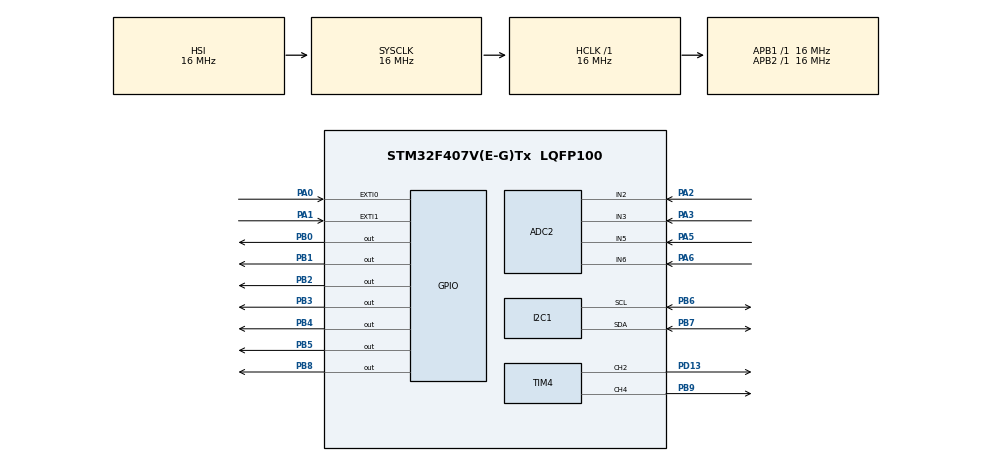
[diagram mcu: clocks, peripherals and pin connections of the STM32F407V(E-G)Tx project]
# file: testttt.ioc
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ADC2.Channel-0\#ChannelRegularConversion=ADC_CHANNEL_5
ADC2.Channel-1\#ChannelRegularConversion=ADC_CHANNEL_2
ADC2.Channel-2\#ChannelRegularConversion=ADC_CHANNEL_3
ADC2.Channel-3\#ChannelRegularConversion=ADC_CHANNEL_6
ADC2.ContinuousConvMode=ENABLE
ADC2.DMAContinuousRequests=ENABLE
ADC2.NbrOfConversion=4
ADC2.NbrOfConversionFlag=1
ADC2.Rank-0\#ChannelRegularConversion=1
ADC2.Rank-1\#ChannelRegularConversion=2
ADC2.Rank-2\#ChannelRegularConversion=3
ADC2.Rank-3\#ChannelRegularConversion=4
ADC2.SamplingTime-0\#ChannelRegularConversion=ADC_SAMPLETIME_84CYCLES
ADC2.SamplingTime-1\#ChannelRegularConversion=ADC_SAMPLETIME_84CYCLES
ADC2.SamplingTime-2\#ChannelRegularConversion=ADC_SAMPLETIME_84CYCLES
ADC2.SamplingTime-3\#ChannelRegularConversion=ADC_SAMPLETIME_84CYCLES
ADC2.ScanConvMode=ENABLE
Dma.ADC2.0.Direction=DMA_PERIPH_TO_MEMORY
Dma.ADC2.0.FIFOMode=DMA_FIFOMODE_DISABLE
Dma.ADC2.0.Instance=DMA2_Stream2
Dma.ADC2.0.MemDataAlignment=DMA_MDATAALIGN_WORD
Dma.ADC2.0.MemInc=DMA_MINC_ENABLE
Dma.ADC2.0.Mode=DMA_CIRCULAR
Dma.ADC2.0.PeriphDataAlignment=DMA_PDATAALIGN_WORD
Dma.ADC2.0.PeriphInc=DMA_PINC_DISABLE
Dma.ADC2.0.Priority=DMA_PRIORITY_LOW
Dma.Request0=ADC2
Mcu.Family=STM32F4
Mcu.Name=STM32F407V(E-G)Tx
Mcu.Package=LQFP100
NVIC.DMA2_Stream2_IRQn=true\:0\:0\:false\:false\:true\:false\:true\:true
NVIC.EXTI0_IRQn=true\:0\:0\:false\:false\:true\:true\:true\:true
NVIC.EXTI1_IRQn=true\:0\:0\:false\:false\:true\:true\:true\:true
NVIC.PriorityGroup=NVIC_PRIORITYGROUP_4
NVIC.TIM6_DAC_IRQn=true\:0\:0\:false\:false\:true\:true\:true\:true
NVIC.TIM7_IRQn=true\:0\:0\:false\:false\:true\:true\:true\:true
PA0-WKUP.GPIO_PuPd=GPIO_PULLUP
PA0-WKUP.Signal=GPXTI0
PA1.GPIO_ModeDefaultEXTI=GPIO_MODE_IT_RISING
PA1.GPIO_PuPd=GPIO_PULLUP
PA1.Signal=GPXTI1
PA2.Signal=ADCx_IN2
PA3.Signal=ADCx_IN3
PA5.Signal=ADCx_IN5
PA6.Signal=ADCx_IN6
PB0.Signal=GPIO_Output
PB1.Signal=GPIO_Output
PB2.Signal=GPIO_Output
PB3.Signal=GPIO_Output
PB4.GPIO_Speed=GPIO_SPEED_FREQ_LOW
PB4.Signal=GPIO_Output
PB5.Signal=GPIO_Output
PB6.Mode=I2C
PB6.Signal=I2C1_SCL
PB7.Mode=I2C
PB7.Signal=I2C1_SDA
PB8.Signal=GPIO_Output
PB9.Signal=S_TIM4_CH4
PD13.Signal=S_TIM4_CH2
ProjectManager.HeapSize=0x200
ProjectManager.StackSize=0x400
ProjectManager.TargetToolchain=STM32CubeIDE
RCC.AHBFreq_Value=16000000
RCC.APB1Freq_Value=16000000
RCC.APB2Freq_Value=16000000
RCC.CortexFreq_Value=16000000
RCC.HSE_VALUE=25000000
RCC.HSI_VALUE=16000000
RCC.LSE_VALUE=32768
RCC.SYSCLKFreq_VALUE=16000000
RCC.VCOOutputFreq_Value=192000000
SH.ADCx_IN2.0=ADC2_IN2,IN2
SH.ADCx_IN3.0=ADC2_IN3,IN3
SH.ADCx_IN5.0=ADC2_IN5,IN5
SH.ADCx_IN6.0=ADC2_IN6,IN6
SH.S_TIM4_CH2.0=TIM4_CH2,PWM Generation2 CH2
SH.S_TIM4_CH4.0=TIM4_CH4,PWM Generation4 CH4
TIM4.Channel-PWM\ Generation2\ CH2=TIM_CHANNEL_2
TIM4.Channel-PWM\ Generation4\ CH4=TIM_CHANNEL_4
TIM6.AutoReloadPreload=TIM_AUTORELOAD_PRELOAD_ENABLE
TIM6.Period=999
TIM6.Prescaler=8399
TIM7.AutoReloadPreload=TIM_AUTORELOAD_PRELOAD_ENABLE
TIM7.Period=999
TIM7.Prescaler=8399
VP_TIM6_VS_ClockSourceINT.Mode=Enable_Timer
VP_TIM7_VS_ClockSourceINT.Mode=Enable_Timer
board=custom

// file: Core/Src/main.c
/* USER CODE BEGIN Header */
/**
  ******************************************************************************
  * @file           : main.c
  * @brief          : Main program body
  ******************************************************************************
  * @attention
  *
  * Copyright (c) 2025 STMicroelectronics.
  * All rights reserved.
  *
  * This software is licensed under terms that can be found in the LICENSE file
  * in the root directory of this software component.
  * If no LICENSE file comes with this software, it is provided AS-IS.
  *
  ******************************************************************************
  */
/* USER CODE END Header */
#include "main.h"
#include "liquidcrystal_i2c.h"
#include <stdio.h>
#include <string.h>

/* USER CODE BEGIN PTD */
typedef enum {
    MODE_NORMAL = 0,
    MODE_DIAGNOSTIC
} SystemMode;
/* USER CODE END PTD */

/* USER CODE BEGIN PD */
#define BUZZER_Pin GPIO_PIN_0
#define BUZZER_GPIO_Port GPIOB

#define LED_VERTE_Pin GPIO_PIN_5
#define LED_ROUGE_Pin GPIO_PIN_1
#define LED_BLEUE_Pin GPIO_PIN_2
#define LED_JAUNE_Pin GPIO_PIN_3

#define POMPE_Pin GPIO_PIN_4
#define POMPE_GPIO_Port GPIOB

#define VENTILATEUR_Pin GPIO_PIN_8
#define VENTILATEUR_GPIO_Port GPIOB

#define LED_GPIO_Port GPIOB

// Seuils
#define TEMP_SEUIL_ALARME 30.0f
#define WATER_SEUIL_BAS 1000
#define HUMIDITE_SOL_SEUIL_BAS 2000
#define LDR_SEUIL_SOMBRE 1000  // Seuil pour détecter l'obscurité

/* USER CODE END PD */

ADC_HandleTypeDef hadc2;
DMA_HandleTypeDef hdma_adc2;

I2C_HandleTypeDef hi2c1;

TIM_HandleTypeDef htim4;
TIM_HandleTypeDef htim6;
TIM_HandleTypeDef htim7;

/* USER CODE BEGIN PV */
volatile SystemMode system_mode = MODE_NORMAL;
volatile uint8_t diagnostic_requested = 0;
volatile uint8_t bouton_urgence_appuye = 0;
uint32_t last_button_press = 0;

// Variables pour stockage des valeurs des capteurs
float current_temperature = 0.0f;
int current_water_level = 0;
int current_soil_moisture = 0;
int current_ldr_value = 0;  // Nouvelle variable pour le LDR

/* USER CODE END PV */

void SystemClock_Config(void);
static void MX_GPIO_Init(void);
static void MX_DMA_Init(void);
static void MX_ADC2_Init(void);
static void MX_TIM4_Init(void);
static void MX_TIM6_Init(void);
static void MX_TIM7_Init(void);
static void MX_I2C1_Init(void);
/* USER CODE BEGIN PFP */
float read_temperature_simple(void);
int read_water_level_simple(void);
int read_soil_moisture_simple(void);
int read_ldr_simple(void);  // Nouvelle fonction pour le LDR
void buzzer_beep_short(void);
void buzzer_alarme(void);
void leds_all_off(void);
void diagnostic_complet(void);
void afficher_normal_mode(void);
void gerer_actions_automatiques(float temp, int water_level, int soil_moisture);
void pompe_activer(void);
void pompe_desactiver(void);
void ventilateur_activer(void);
void ventilateur_desactiver(void);
void bouton_urgence_handler(void);
uint32_t read_adc_simple(uint32_t channel);
/* USER CODE END PFP */

int main(void)
{

  /* MCU Configuration--------------------------------------------------------*/

  /* Reset of all peripherals, Initializes the Flash interface and the Systick. */
  HAL_Init();

  /* Configure the system clock */
  SystemClock_Config();

  /* Initialize all configured peripherals */
  MX_GPIO_Init();
  MX_DMA_Init();
  MX_ADC2_Init();
  MX_TIM4_Init();
  MX_TIM6_Init();
  MX_TIM7_Init();
  MX_I2C1_Init();
  /* USER CODE BEGIN 2 */
  HD44780_Init(2);

  HD44780_Clear();
  HD44780_PrintStr("Initialisation...");
  HAL_Delay(1000);

  // Lecture initiale des capteurs
  current_temperature = read_temperature_simple();
  current_water_level = read_water_level_simple();
  current_soil_moisture = read_soil_moisture_simple();
  current_ldr_value = read_ldr_simple();  // Lecture initiale du LDR

  HD44780_Clear();
  HD44780_PrintStr("Systeme Pret!");
  HAL_Delay(1000);

  buzzer_beep_short();
  leds_all_off();
  HAL_GPIO_WritePin(LED_GPIO_Port, LED_VERTE_Pin, GPIO_PIN_SET);

  /* USER CODE END 2 */

  /* Infinite loop */
  /* USER CODE BEGIN WHILE */
  while (1)
  {
    if (system_mode == MODE_NORMAL) {
        afficher_normal_mode();
    }
    else if (system_mode == MODE_DIAGNOSTIC) {
        diagnostic_complet();
        system_mode = MODE_NORMAL;
    }

    if (diagnostic_requested) {
        diagnostic_requested = 0;
        system_mode = MODE_DIAGNOSTIC;
    }

    if (bouton_urgence_appuye) {
        bouton_urgence_appuye = 0;
        bouton_urgence_handler();
    }

    HAL_Delay(100);
    /* USER CODE END WHILE */

  }
}

void SystemClock_Config(void)
{
  RCC_OscInitTypeDef RCC_OscInitStruct = {0};
  RCC_ClkInitTypeDef RCC_ClkInitStruct = {0};

  /** Configure the main internal regulator output voltage
  */
  __HAL_RCC_PWR_CLK_ENABLE();
  __HAL_PWR_VOLTAGESCALING_CONFIG(PWR_REGULATOR_VOLTAGE_SCALE1);

  /** Initializes the RCC Oscillators according to the specified parameters
  * in the RCC_OscInitTypeDef structure.
  */
  RCC_OscInitStruct.OscillatorType = RCC_OSCILLATORTYPE_HSI;
  RCC_OscInitStruct.HSIState = RCC_HSI_ON;
  RCC_OscInitStruct.HSICalibrationValue = RCC_HSICALIBRATION_DEFAULT;
  RCC_OscInitStruct.PLL.PLLState = RCC_PLL_NONE;
  if (HAL_RCC_OscConfig(&RCC_OscInitStruct) != HAL_OK)
  {
    Error_Handler();
  }

  /** Initializes the CPU, AHB and APB buses clocks
  */
  RCC_ClkInitStruct.ClockType = RCC_CLOCKTYPE_HCLK|RCC_CLOCKTYPE_SYSCLK
                              |RCC_CLOCKTYPE_PCLK1|RCC_CLOCKTYPE_PCLK2;
  RCC_ClkInitStruct.SYSCLKSource = RCC_SYSCLKSOURCE_HSI;
  RCC_ClkInitStruct.AHBCLKDivider = RCC_SYSCLK_DIV1;
  RCC_ClkInitStruct.APB1CLKDivider = RCC_HCLK_DIV1;
  RCC_ClkInitStruct.APB2CLKDivider = RCC_HCLK_DIV1;

  if (HAL_RCC_ClockConfig(&RCC_ClkInitStruct, FLASH_LATENCY_0) != HAL_OK)
  {
    Error_Handler();
  }
}

static void MX_ADC2_Init(void)
{
  ADC_ChannelConfTypeDef sConfig = {0};

  /** Configure the global features of the ADC (Clock, Resolution, Data Alignment and number of conversion)
  */
  hadc2.Instance = ADC2;
  hadc2.Init.ClockPrescaler = ADC_CLOCK_SYNC_PCLK_DIV2;
  hadc2.Init.Resolution = ADC_RESOLUTION_12B;
  hadc2.Init.ScanConvMode = DISABLE;  // IMPORTANT: Mode non scan comme dans l'ancien code
  hadc2.Init.ContinuousConvMode = DISABLE;  // IMPORTANT: Conversion unique
  hadc2.Init.DiscontinuousConvMode = DISABLE;
  hadc2.Init.ExternalTrigConvEdge = ADC_EXTERNALTRIGCONVEDGE_NONE;
  hadc2.Init.ExternalTrigConv = ADC_SOFTWARE_START;
  hadc2.Init.DataAlign = ADC_DATAALIGN_RIGHT;
  hadc2.Init.NbrOfConversion = 1;  // IMPORTANT: Une seule conversion
  hadc2.Init.DMAContinuousRequests = DISABLE;
  hadc2.Init.EOCSelection = ADC_EOC_SINGLE_CONV;
  if (HAL_ADC_Init(&hadc2) != HAL_OK)
  {
    Error_Handler();
  }

  /** Configure for the selected ADC regular channel its corresponding rank in the sequencer and its sample time.
  */
  sConfig.Channel = ADC_CHANNEL_2;  // Canal par défaut
  sConfig.Rank = 1;
  sConfig.SamplingTime = ADC_SAMPLETIME_84CYCLES;
  if (HAL_ADC_ConfigChannel(&hadc2, &sConfig) != HAL_OK)
  {
    Error_Handler();
  }
}

static void MX_I2C1_Init(void)
{

  hi2c1.Instance = I2C1;
  hi2c1.Init.ClockSpeed = 100000;
  hi2c1.Init.DutyCycle = I2C_DUTYCYCLE_2;
  hi2c1.Init.OwnAddress1 = 0;
  hi2c1.Init.AddressingMode = I2C_ADDRESSINGMODE_7BIT;
  hi2c1.Init.DualAddressMode = I2C_DUALADDRESS_DISABLE;
  hi2c1.Init.OwnAddress2 = 0;
  hi2c1.Init.GeneralCallMode = I2C_GENERALCALL_DISABLE;
  hi2c1.Init.NoStretchMode = I2C_NOSTRETCH_DISABLE;
  if (HAL_I2C_Init(&hi2c1) != HAL_OK)
  {
    Error_Handler();
  }
}

static void MX_TIM4_Init(void)
{

  TIM_MasterConfigTypeDef sMasterConfig = {0};
  TIM_OC_InitTypeDef sConfigOC = {0};

  htim4.Instance = TIM4;
  htim4.Init.Prescaler = 0;
  htim4.Init.CounterMode = TIM_COUNTERMODE_UP;
  htim4.Init.Period = 65535;
  htim4.Init.ClockDivision = TIM_CLOCKDIVISION_DIV1;
  htim4.Init.AutoReloadPreload = TIM_AUTORELOAD_PRELOAD_DISABLE;
  if (HAL_TIM_PWM_Init(&htim4) != HAL_OK)
  {
    Error_Handler();
  }
  sMasterConfig.MasterOutputTrigger = TIM_TRGO_RESET;
  sMasterConfig.MasterSlaveMode = TIM_MASTERSLAVEMODE_DISABLE;
  if (HAL_TIMEx_MasterConfigSynchronization(&htim4, &sMasterConfig) != HAL_OK)
  {
    Error_Handler();
  }
  sConfigOC.OCMode = TIM_OCMODE_PWM1;
  sConfigOC.Pulse = 0;
  sConfigOC.OCPolarity = TIM_OCPOLARITY_HIGH;
  sConfigOC.OCFastMode = TIM_OCFAST_DISABLE;
  if (HAL_TIM_PWM_ConfigChannel(&htim4, &sConfigOC, TIM_CHANNEL_2) != HAL_OK)
  {
    Error_Handler();
  }
  if (HAL_TIM_PWM_ConfigChannel(&htim4, &sConfigOC, TIM_CHANNEL_4) != HAL_OK)
  {
    Error_Handler();
  }
  HAL_TIM_MspPostInit(&htim4);
}

static void MX_TIM6_Init(void)
{

  TIM_MasterConfigTypeDef sMasterConfig = {0};

  htim6.Instance = TIM6;
  htim6.Init.Prescaler = 8399;
  htim6.Init.CounterMode = TIM_COUNTERMODE_UP;
  htim6.Init.Period = 999;
  htim6.Init.AutoReloadPreload = TIM_AUTORELOAD_PRELOAD_ENABLE;
  if (HAL_TIM_Base_Init(&htim6) != HAL_OK)
  {
    Error_Handler();
  }
  sMasterConfig.MasterOutputTrigger = TIM_TRGO_RESET;
  sMasterConfig.MasterSlaveMode = TIM_MASTERSLAVEMODE_DISABLE;
  if (HAL_TIMEx_MasterConfigSynchronization(&htim6, &sMasterConfig) != HAL_OK)
  {
    Error_Handler();
  }
}

static void MX_TIM7_Init(void)
{

  TIM_MasterConfigTypeDef sMasterConfig = {0};

  htim7.Instance = TIM7;
  htim7.Init.Prescaler = 8399;
  htim7.Init.CounterMode = TIM_COUNTERMODE_UP;
  htim7.Init.Period = 999;
  htim7.Init.AutoReloadPreload = TIM_AUTORELOAD_PRELOAD_ENABLE;
  if (HAL_TIM_Base_Init(&htim7) != HAL_OK)
  {
    Error_Handler();
  }
  sMasterConfig.MasterOutputTrigger = TIM_TRGO_RESET;
  sMasterConfig.MasterSlaveMode = TIM_MASTERSLAVEMODE_DISABLE;
  if (HAL_TIMEx_MasterConfigSynchronization(&htim7, &sMasterConfig) != HAL_OK)
  {
    Error_Handler();
  }
}

static void MX_DMA_Init(void)
{
  /* DMA controller clock enable */
  __HAL_RCC_DMA2_CLK_ENABLE();

  /* DMA interrupt init */
  /* DMA2_Stream2_IRQn interrupt configuration */
  HAL_NVIC_SetPriority(DMA2_Stream2_IRQn, 0, 0);
  HAL_NVIC_EnableIRQ(DMA2_Stream2_IRQn);
}

static void MX_GPIO_Init(void)
{
  GPIO_InitTypeDef GPIO_InitStruct = {0};

  /* GPIO Ports Clock Enable */
  __HAL_RCC_GPIOA_CLK_ENABLE();
  __HAL_RCC_GPIOB_CLK_ENABLE();
  __HAL_RCC_GPIOD_CLK_ENABLE();

  /*Configure GPIO pin Output Level */
  HAL_GPIO_WritePin(GPIOB, GPIO_PIN_0|GPIO_PIN_1|GPIO_PIN_2|GPIO_PIN_3
                          |GPIO_PIN_4|GPIO_PIN_5|GPIO_PIN_8, GPIO_PIN_RESET);

  /*Configure GPIO pins : PA0 PA1 */
  GPIO_InitStruct.Pin = GPIO_PIN_0|GPIO_PIN_1;
  GPIO_InitStruct.Mode = GPIO_MODE_IT_RISING;
  GPIO_InitStruct.Pull = GPIO_PULLUP;
  HAL_GPIO_Init(GPIOA, &GPIO_InitStruct);

  /*Configure GPIO pins : PB0 PB1 PB2 PB3
                           PB4 PB5 PB8 */
  GPIO_InitStruct.Pin = GPIO_PIN_0|GPIO_PIN_1|GPIO_PIN_2|GPIO_PIN_3
                          |GPIO_PIN_4|GPIO_PIN_5|GPIO_PIN_8;
  GPIO_InitStruct.Mode = GPIO_MODE_OUTPUT_PP;
  GPIO_InitStruct.Pull = GPIO_NOPULL;
  GPIO_InitStruct.Speed = GPIO_SPEED_FREQ_LOW;
  HAL_GPIO_Init(GPIOB, &GPIO_InitStruct);

  /* EXTI interrupt init*/
  HAL_NVIC_SetPriority(EXTI0_IRQn, 0, 0);
  HAL_NVIC_EnableIRQ(EXTI0_IRQn);

  HAL_NVIC_SetPriority(EXTI1_IRQn, 0, 0);
  HAL_NVIC_EnableIRQ(EXTI1_IRQn);

}

/* USER CODE BEGIN 4 */

// ==============================================
// FONCTIONS SIMPLES
// ==============================================

void leds_all_off(void) {
    HAL_GPIO_WritePin(LED_GPIO_Port, LED_VERTE_Pin, GPIO_PIN_RESET);
    HAL_GPIO_WritePin(LED_GPIO_Port, LED_ROUGE_Pin, GPIO_PIN_RESET);
    HAL_GPIO_WritePin(LED_GPIO_Port, LED_BLEUE_Pin, GPIO_PIN_RESET);
    HAL_GPIO_WritePin(LED_GPIO_Port, LED_JAUNE_Pin, GPIO_PIN_RESET);
    pompe_desactiver();
    ventilateur_desactiver();
}

void buzzer_beep_short(void) {
    HAL_GPIO_WritePin(BUZZER_GPIO_Port, BUZZER_Pin, GPIO_PIN_SET);
    HAL_Delay(200);
    HAL_GPIO_WritePin(BUZZER_GPIO_Port, BUZZER_Pin, GPIO_PIN_RESET);
}

void buzzer_alarme(void) {
    for(int i=0; i<3; i++) {
        buzzer_beep_short();
        HAL_Delay(300);
    }
}

void pompe_activer(void) {
    HAL_GPIO_WritePin(POMPE_GPIO_Port, POMPE_Pin, GPIO_PIN_SET);
    HAL_GPIO_WritePin(LED_GPIO_Port, LED_JAUNE_Pin, GPIO_PIN_SET);
}

void pompe_desactiver(void) {
    HAL_GPIO_WritePin(POMPE_GPIO_Port, POMPE_Pin, GPIO_PIN_RESET);
    HAL_GPIO_WritePin(LED_GPIO_Port, LED_JAUNE_Pin, GPIO_PIN_RESET);
}

void ventilateur_activer(void) {
    HAL_GPIO_WritePin(VENTILATEUR_GPIO_Port, VENTILATEUR_Pin, GPIO_PIN_SET);
    HAL_GPIO_WritePin(LED_GPIO_Port, LED_BLEUE_Pin, GPIO_PIN_SET);
}

void ventilateur_desactiver(void) {
    HAL_GPIO_WritePin(VENTILATEUR_GPIO_Port, VENTILATEUR_Pin, GPIO_PIN_RESET);
    HAL_GPIO_WritePin(LED_GPIO_Port, LED_BLEUE_Pin, GPIO_PIN_RESET);
}

// ==============================================
// LECTURE ADC SIMPLIFIÉE (comme l'ancien code)
// ==============================================

uint32_t read_adc_simple(uint32_t channel) {
    uint32_t adc_value;

    // Arrêt de l'ADC
    HAL_ADC_Stop(&hadc2);
    HAL_Delay(2);

    // Configuration du canal
    ADC_ChannelConfTypeDef sConfig;
    sConfig.Channel = channel;
    sConfig.Rank = 1;
    sConfig.SamplingTime = ADC_SAMPLETIME_84CYCLES;

    if (HAL_ADC_ConfigChannel(&hadc2, &sConfig) != HAL_OK) {
        return 0xFFFFFFFF;
    }

    // Démarrage et lecture
    HAL_ADC_Start(&hadc2);
    if (HAL_ADC_PollForConversion(&hadc2, 100) != HAL_OK) {
        HAL_ADC_Stop(&hadc2);
        return 0xFFFFFFFF;
    }

    adc_value = HAL_ADC_GetValue(&hadc2);
    HAL_ADC_Stop(&hadc2);

    return adc_value;
}

// ==============================================
// CAPTEURS - FONCTIONS SIMPLIFIÉES
// ==============================================

float read_temperature_simple(void) {
    uint32_t adc_value = read_adc_simple(ADC_CHANNEL_5);  // PA5
    if (adc_value == 0xFFFFFFFF || adc_value > 4095) {
        return -999.0f;
    }

    // Conversion simple comme dans l'ancien code
    float voltage = (adc_value * 3.3f) / 4095.0f;
    float temp = voltage * 100.0f;  // Pour capteur type LM35

    // Plages plus larges pour éviter les erreurs
    if (temp < -10.0f || temp > 80.0f) {
        return -999.0f;
    }

    current_temperature = temp;
    return temp;
}

int read_water_level_simple(void) {
    uint32_t adc_value = read_adc_simple(ADC_CHANNEL_2);  // PA2
    if (adc_value == 0xFFFFFFFF || adc_value > 4095) {
        return -999;
    }

    // Pas d'inversion - utilisation directe comme dans l'ancien code
    current_water_level = (int)adc_value;
    return (int)adc_value;
}

int read_soil_moisture_simple(void) {
    uint32_t adc_value = read_adc_simple(ADC_CHANNEL_4);  // PA4
    if (adc_value == 0xFFFFFFFF || adc_value > 4095) {
        return -999;
    }

    current_soil_moisture = (int)adc_value;
    return (int)adc_value;
}

// ==============================================
// NOUVELLE FONCTION POUR LDR
// ==============================================

int read_ldr_simple(void) {
    uint32_t adc_value = read_adc_simple(ADC_CHANNEL_3);  // PA3 - LDR
    if (adc_value == 0xFFFFFFFF || adc_value > 4095) {
        return -999;
    }

    current_ldr_value = (int)adc_value;
    return (int)adc_value;
}

// ==============================================
// FONCTIONNALITES PRINCIPALES
// ==============================================

void gerer_actions_automatiques(float temp, int water_level, int soil_moisture) {
    // Ventilateur si température élevée
    if (temp > TEMP_SEUIL_ALARME && temp != -999.0f) {
        ventilateur_activer();
    } else {
        ventilateur_desactiver();
    }

    // Pompe si niveau d'eau bas ET sol sec
    if (water_level < WATER_SEUIL_BAS && water_level != -999 &&
        soil_moisture > HUMIDITE_SOL_SEUIL_BAS && soil_moisture != -999) {
        pompe_activer();
    } else {
        pompe_desactiver();
    }
}

void afficher_normal_mode(void) {
    static uint32_t last_time = 0;
    static uint8_t display_state = 0;
    char msg[17];

    if (HAL_GetTick() - last_time > 3000) {
        last_time = HAL_GetTick();

        // Lecture des capteurs
        float temp = read_temperature_simple();
        int water = read_water_level_simple();
        int soil = read_soil_moisture_simple();
        int ldr = read_ldr_simple();  // Lecture du LDR

        // Actions automatiques
        gerer_actions_automatiques(temp, water, soil);

        // Affichage
        switch(display_state) {
            case 0:
                if (temp == -999.0f) {
                    sprintf(msg, "Temp: ERREUR");
                    HAL_GPIO_WritePin(LED_GPIO_Port, LED_ROUGE_Pin, GPIO_PIN_SET);
                } else {
                    sprintf(msg, "Temp: %.1fC", temp);
                    HAL_GPIO_WritePin(LED_GPIO_Port, LED_ROUGE_Pin, GPIO_PIN_RESET);
                }
                HD44780_Clear();
                HD44780_PrintStr(msg);
                break;

            case 1:
                if (water == -999) {
                    sprintf(msg, "Eau: ERREUR");
                } else {
                    sprintf(msg, "Eau: %d", water);
                }
                HD44780_Clear();
                HD44780_PrintStr(msg);
                HD44780_SetCursor(0,1);
                if (water < 1000) HD44780_PrintStr("Niveau: BAS");
                else if (water < 2500) HD44780_PrintStr("Niveau: MOYEN");
                else HD44780_PrintStr("Niveau: HAUT");
                break;

            case 2:
                if (soil == -999) {
                    sprintf(msg, "Sol: ERREUR");
                } else {
                    sprintf(msg, "Sol: %d", soil);
                }
                HD44780_Clear();
                HD44780_PrintStr(msg);
                HD44780_SetCursor(0,1);
                if (soil > 3000) HD44780_PrintStr("Etat: SEC");
                else if (soil > 1500) HD44780_PrintStr("Etat: HUMIDE");
                else HD44780_PrintStr("Etat: TREMPE");
                break;

            case 3:  // NOUVEL ÉTAT POUR LDR
                if (ldr == -999) {
                    sprintf(msg, "LDR: ERREUR");
                } else {
                    sprintf(msg, "LDR: %d", ldr);
                }
                HD44780_Clear();
                HD44780_PrintStr(msg);
                HD44780_SetCursor(0,1);
                if (ldr < LDR_SEUIL_SOMBRE) HD44780_PrintStr("Lumière: CLAIR");
                else HD44780_PrintStr("Lumière: SOMBRE");
                break;
        }

        display_state = (display_state + 1) % 4;  // Changé à 4 états
    }
}

// DIAGNOSTIC COMPLET AVEC LDR
void diagnostic_complet(void) {
    char msg[17];
    uint8_t errors = 0;
    uint8_t alertes = 0;

    leds_all_off();

    // ÉTAPE 1: Test des capteurs
    HD44780_Clear();
    HD44780_PrintStr("Test CAPTEURS...");
    HAL_Delay(1500);

    float temp = read_temperature_simple();
    int water = read_water_level_simple();
    int soil = read_soil_moisture_simple();
    int ldr = read_ldr_simple();  // Test du LDR

    // Affichage résultats capteurs - PREMIÈRE LIGNE
    HD44780_Clear();
    if (temp == -999.0f) {
        HD44780_PrintStr("T:ERREUR ");
        errors++;
    } else {
        sprintf(msg, "T:%.1fC ", temp);
        HD44780_PrintStr(msg);
    }

    if (water == -999) {
        HD44780_PrintStr("E:ERREUR");
        errors++;
    } else {
        sprintf(msg, "E:%d", water);
        HD44780_PrintStr(msg);
    }

    // DEUXIÈME LIGNE - SOL ET LDR
    HD44780_SetCursor(0,1);
    if (soil == -999) {
        HD44780_PrintStr("S:ERREUR ");
        errors++;
    } else {
        sprintf(msg, "S:%d ", soil);
        HD44780_PrintStr(msg);
    }

    if (ldr == -999) {
        HD44780_PrintStr("L:ERREUR");
        errors++;
    } else {
        sprintf(msg, "L:%d", ldr);
        HD44780_PrintStr(msg);
    }

    HAL_Delay(2000);

    // Affichage des états des capteurs
    HD44780_Clear();
    HD44780_PrintStr("Etats capteurs:");
    HD44780_SetCursor(0,1);

    if (temp != -999.0f && temp > TEMP_SEUIL_ALARME) {
        HD44780_PrintStr("TEMP! ");
        alertes++;
    }
    if (water != -999 && water < WATER_SEUIL_BAS) {
        HD44780_PrintStr("EAU! ");
        alertes++;
    }
    if (ldr != -999 && ldr > LDR_SEUIL_SOMBRE) {
        HD44780_PrintStr("SOMBRE");
        alertes++;
    }

    if (alertes == 0) {
        HD44780_PrintStr("NORMAL");
    }

    HAL_Delay(2000);

    // ÉTAPE 2: Test des actionneurs
    HD44780_Clear();
    HD44780_PrintStr("Test ACTIONNEURS");
    HAL_Delay(1500);

    // Test séquentiel
    HD44780_Clear();
    HD44780_PrintStr("LEDs + Buzzer...");
    HAL_GPIO_WritePin(LED_GPIO_Port, LED_VERTE_Pin, GPIO_PIN_SET);
    buzzer_beep_short();
    HAL_Delay(500);

    HAL_GPIO_WritePin(LED_GPIO_Port, LED_ROUGE_Pin, GPIO_PIN_SET);
    buzzer_beep_short();
    HAL_Delay(500);

    HAL_GPIO_WritePin(LED_GPIO_Port, LED_BLEUE_Pin, GPIO_PIN_SET);
    buzzer_beep_short();
    HAL_Delay(500);

    HAL_GPIO_WritePin(LED_GPIO_Port, LED_JAUNE_Pin, GPIO_PIN_SET);
    buzzer_beep_short();
    HAL_Delay(500);

    HD44780_Clear();
    HD44780_PrintStr("Test POMPE...");
    pompe_activer();
    buzzer_beep_short();
    HAL_Delay(1000);
    pompe_desactiver();

    HD44780_Clear();
    HD44780_PrintStr("Test VENTIL...");
    ventilateur_activer();
    buzzer_beep_short();
    HAL_Delay(1000);
    ventilateur_desactiver();

    leds_all_off();

    // RÉSULTAT FINAL
    HD44780_Clear();
    if (errors == 0) {
        HD44780_PrintStr("DIAGNOSTIC OK");
        HD44780_SetCursor(0,1);
        HD44780_PrintStr("Systeme pret!");
        HAL_GPIO_WritePin(LED_GPIO_Port, LED_VERTE_Pin, GPIO_PIN_SET);
    } else {
        HD44780_PrintStr("DIAG: ERREURS");
        HD44780_SetCursor(0,1);
        sprintf(msg, "Capteurs: %d", errors);
        HD44780_PrintStr(msg);
        HAL_GPIO_WritePin(LED_GPIO_Port, LED_ROUGE_Pin, GPIO_PIN_SET);
        buzzer_alarme();
    }
    HAL_Delay(3000);

    leds_all_off();
    HAL_GPIO_WritePin(LED_GPIO_Port, LED_VERTE_Pin, GPIO_PIN_SET);
}

void bouton_urgence_handler(void) {
    int water_level = read_water_level_simple();
    float temp = read_temperature_simple();
    char msg[17];

    HD44780_Clear();
    HD44780_PrintStr("URGENCE!");
    HAL_Delay(500);

    // Action prioritaire: pompe si niveau d'eau bas
    if (water_level < WATER_SEUIL_BAS && water_level != -999) {
        HD44780_Clear();
        HD44780_PrintStr("NIVEAU BAS");
        HD44780_SetCursor(0,1);
        HD44780_PrintStr("POMPE ACTIVE");

        pompe_activer();
        HAL_GPIO_WritePin(LED_GPIO_Port, LED_ROUGE_Pin, GPIO_PIN_SET);
        buzzer_alarme();

        HAL_Delay(3000);

        pompe_desactiver();
        HAL_GPIO_WritePin(LED_GPIO_Port, LED_ROUGE_Pin, GPIO_PIN_RESET);
    }
    // Action secondaire: ventilateur si température élevée
    else if (temp > TEMP_SEUIL_ALARME && temp != -999.0f) {
        HD44780_Clear();
        HD44780_PrintStr("TEMP ELEVEE");
        HD44780_SetCursor(0,1);
        HD44780_PrintStr("VENTIL ACTIF");

        ventilateur_activer();
        HAL_GPIO_WritePin(LED_GPIO_Port, LED_ROUGE_Pin, GPIO_PIN_SET);
        buzzer_alarme();

        HAL_Delay(3000);

        ventilateur_desactiver();
        HAL_GPIO_WritePin(LED_GPIO_Port, LED_ROUGE_Pin, GPIO_PIN_RESET);
    }
    else {
        HD44780_Clear();
        HD44780_PrintStr("NIVEAU NORMAL");
        HD44780_SetCursor(0,1);
        if (water_level != -999 && temp != -999.0f) {
            sprintf(msg, "Eau: %d T:%.1fC", water_level, temp);
        } else {
            sprintf(msg, "Capteurs OK");
        }
        HD44780_PrintStr(msg);

        buzzer_beep_short();
        HAL_Delay(2000);
    }
}

void HAL_GPIO_EXTI_Callback(uint16_t GPIO_Pin) {
    static uint32_t last_time = 0;
    uint32_t now = HAL_GetTick();

    if (now - last_time > 300) {
        last_time = now;

        if (GPIO_Pin == GPIO_PIN_0) {
            diagnostic_requested = 1;
        }
        else if (GPIO_Pin == GPIO_PIN_1) {
            bouton_urgence_appuye = 1;
        }
    }
}

/* USER CODE END 4 */

void Error_Handler(void)
{
  __disable_irq();
  while (1)
  {
  }
}
